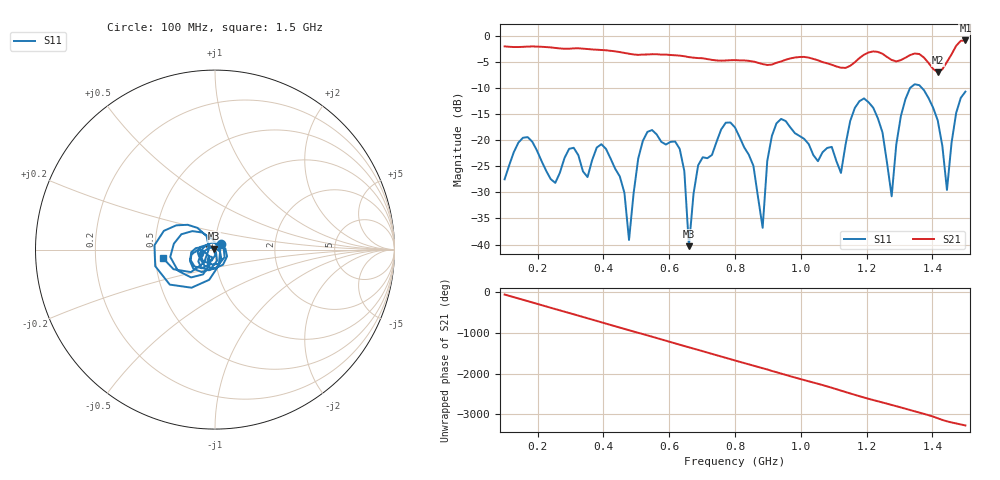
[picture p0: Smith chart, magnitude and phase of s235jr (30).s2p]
! NanoVNA-App
! Date: 2025-09-25 15:04:23
! Start: 100MHz Stop: 1,5GHz Points: 101
! S-Parameter data: F S11 S21 S12 S22
# Hz S RI R 50
!  Frequency  S11_Real  S11_Imag  S21_Real  S21_Imag  S12_Real  S12_Imag  S22_Real  S22_Imag
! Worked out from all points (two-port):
!   101 points, 100 MHz to 1.5 GHz, reference 50 ohm
!   highest |S21| = -0.82 dB at 1.5 GHz (marker M1); lowest = -6.9 dB at 1.416 GHz (marker M2)
!   |S21| within 3 dB of the highest: start of sweep to 642.6 MHz; 1.186 GHz to 1.258 GHz (71.81 MHz wide, 5.88 % of centre) (the widest 2 of 4)
!   lowest |S11| = -40.3 dB at 660 MHz (marker M3), VSWR 1.02, Z = 49.2 + j0.575 ohm
!   |S11| at or under -10 dB: start of sweep to 1.332 GHz; 1.369 GHz to end of sweep
!   S12 and S22 are empty: the file has one direction only
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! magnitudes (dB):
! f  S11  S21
! 100 MHz  -27.5  -2.0
! 170 MHz  -19.4  -2.0
! 338 MHz  -26.0  -2.4
! 408 MHz  -21.6  -2.7
! 478 MHz  -39.1  -3.4
! 520 MHz  -20.1  -3.5
! 576 MHz  -20.3  -3.5
! 632 MHz  -21.6  -3.7
! 660 MHz  -40.3  -4.0
! 688 MHz  -24.8  -4.2
! 800 MHz  -17.5  -4.6
! 884 MHz  -36.8  -5.4
! 898 MHz  -24.0  -5.5
! 926 MHz  -16.7  -5.1
! 1.038 GHz  -22.8  -4.4
! 1.122 GHz  -26.3  -6.1
! 1.192 GHz  -11.9  -3.6
! 1.276 GHz  -30.7  -4.6
! 1.332 GHz  -9.9  -3.6
! 1.416 GHz  -16.2  -6.9
! 1.444 GHz  -29.5  -4.9
! 1.5 GHz  -10.7  -0.8
